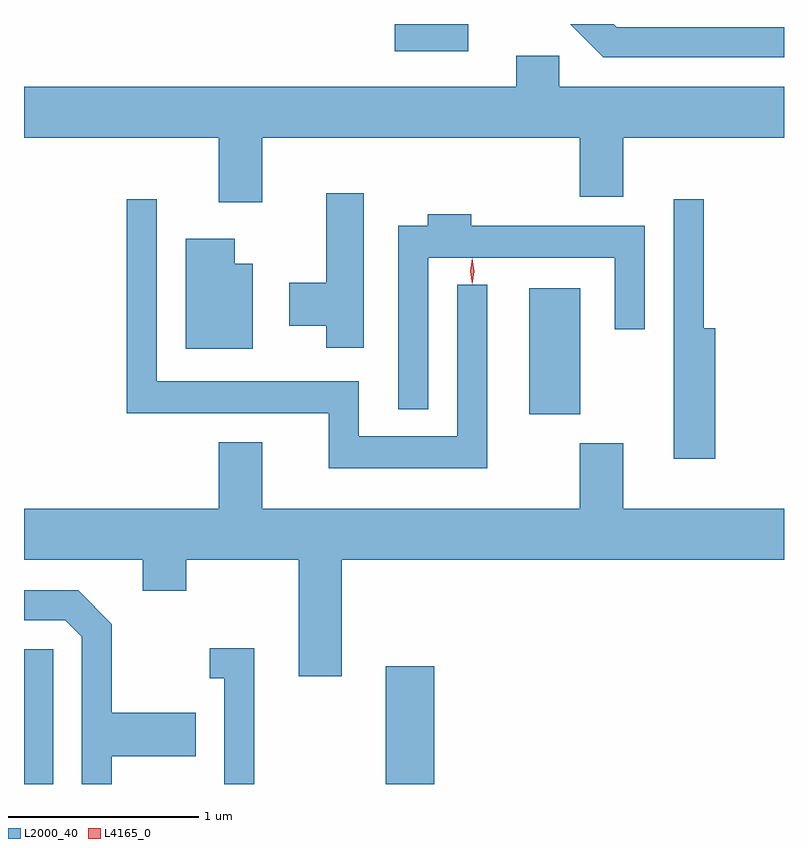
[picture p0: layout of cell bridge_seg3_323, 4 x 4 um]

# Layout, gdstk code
import gdstk
lib = gdstk.Library(unit=1e-6, precision=1e-09)
def R(c, l, rs):  # rectangles x0, y0, x1, y1
    for r in rs: c.add(gdstk.rectangle(r[:2], r[2:], *l))
def P(c, l, *ps):  # polygons
    for p in ps: c.add(gdstk.Polygon(p, *l))
L2000_40 = (2000, 40)
L4165_0 = (4165, 0)

bridge_seg3_323 = lib.new_cell('bridge_seg3_323')
R(bridge_seg3_323, L2000_40, [(527.836,1131.495,527.989,1132.204), (529.741,1131.495,529.994,1132.114), (530.496,1133.441,530.764,1134.104), (529.786,1135.351,530.173,1135.495)])
P(bridge_seg3_323, L2000_40, [(531.836,1135.479),(530.957,1135.479),(530.941,1135.495),(530.71,1135.495),(530.884,1135.321),(531.836,1135.321)],
  [(529.089,1134.896),(530.761,1134.896),(530.761,1134.586),(530.989,1134.586),(530.989,1134.896),(531.836,1134.896),(531.836,1135.164),(530.654,1135.164),(530.654,1135.329),(530.426,1135.329),(530.426,1135.164),(527.836,1135.164),(527.836,1134.896),(528.861,1134.896),(528.861,1134.556),(529.089,1134.556)],
  [(529.624,1134.604),(529.426,1134.604),(529.426,1134.134),(529.231,1134.134),(529.231,1133.906),(529.426,1133.906),(529.426,1133.791),(529.624,1133.791)],
  [(531.474,1133.894),(531.414,1133.894),(531.414,1134.573),(531.256,1134.573),(531.256,1133.206),(531.474,1133.206)],
  [(530.274,1134.123),(530.116,1134.123),(530.116,1133.324),(529.599,1133.324),(529.599,1133.614),(528.534,1133.614),(528.534,1134.573),(528.376,1134.573),(528.376,1133.446),(529.441,1133.446),(529.441,1133.156),(530.274,1133.156)],
  [(529.964,1134.266),(530.946,1134.266),(530.946,1133.888),(531.104,1133.888),(531.104,1134.434),(530.189,1134.434),(530.189,1134.494),(529.961,1134.494),(529.961,1134.434),(529.806,1134.434),(529.806,1133.468),(529.964,1133.468)],
  [(529.039,1134.234),(528.944,1134.234),(528.944,1134.364),(528.686,1134.364),(528.686,1133.786),(529.039,1133.786)],
  [(529.509,1132.676),(531.836,1132.676),(531.836,1132.944),(530.989,1132.944),(530.989,1133.289),(530.761,1133.289),(530.761,1132.944),(529.089,1132.944),(529.089,1133.294),(528.861,1133.294),(528.861,1132.944),(527.836,1132.944),(527.836,1132.676),(528.461,1132.676),(528.461,1132.511),(528.689,1132.511),(528.689,1132.676),(529.281,1132.676),(529.281,1132.061),(529.509,1132.061)],
  [(528.299,1131.641),(528.739,1131.641),(528.739,1131.869),(528.299,1131.869),(528.299,1132.337),(528.122,1132.514),(527.836,1132.514),(527.836,1132.356),(528.054,1132.356),(528.141,1132.269),(528.141,1131.495),(528.299,1131.495)],
  [(529.049,1132.209),(528.813,1132.209),(528.813,1132.051),(528.891,1132.051),(528.891,1131.495),(529.049,1131.495)])
P(bridge_seg3_323, L4165_0, [(530.194,1134.124),(530.185,1134.194),(530.194,1134.263),(530.195,1134.263),(530.196,1134.263),(530.205,1134.194),(530.196,1134.124),(530.195,1134.124)],
  [(530.195,1134.127),(530.194,1134.128),(530.185,1134.194),(530.194,1134.26),(530.195,1134.261),(530.195,1134.26),(530.205,1134.194),(530.195,1134.128)])

lib.write_gds('bridge_seg3_323.gds')
